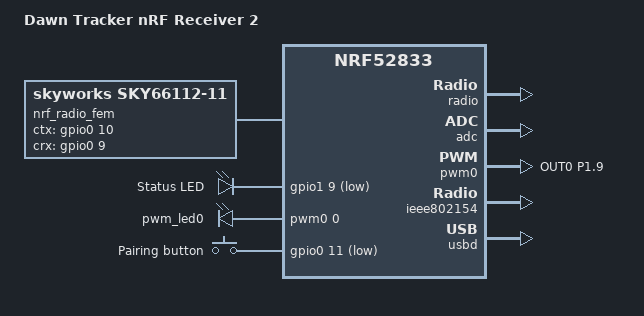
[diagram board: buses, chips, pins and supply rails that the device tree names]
// Copyright (c) 2024 Nordic Semiconductor ASA
// SPDX-License-Identifier: Apache-2.0

/dts-v1/;
#include <nordic/nrf52833_qdaa.dtsi>
#include <zephyr/dt-bindings/input/input-event-codes.h>

&pinctrl {
	pwm0_default: pwm0_default {
		group1 {
			psels = <NRF_PSEL(PWM_OUT0, 1, 9)>;
			nordic,invert;
		};
	};

	pwm0_sleep: pwm0_sleep {
		group1 {
			psels = <NRF_PSEL(PWM_OUT0, 1, 9)>;
			low-power-enable;
		};
	};
};

/ {
	model = "Dawn Tracker nRF Receiver 2";
	compatible = "dawnrx_2_uf2";

	chosen {
		zephyr,console = &cdc_acm_uart;
		zephyr,shell-uart = &cdc_acm_uart;
		zephyr,uart-mcumgr = &cdc_acm_uart;
		zephyr,bt-mon-uart = &cdc_acm_uart;
		zephyr,bt-c2h-uart = &cdc_acm_uart;
		zephyr,sram = &sram0;
		zephyr,flash = &flash0;
		zephyr,ieee802154 = &ieee802154;
	};

	nrf_radio_fem: sky66112_fem {
		compatible = "skyworks,sky66112-11", "radio-fem-two-ctrl-pins";
		ctx-gpios = <&gpio0 10 GPIO_ACTIVE_HIGH>;
		ctx-settle-time-us = <2>;
		crx-gpios = <&gpio0 9 GPIO_ACTIVE_HIGH>;
		crx-settle-time-us = <2>;
		tx-gain-db = <22>;
		rx-gain-db = <12>;
	};

	leds {
		compatible = "gpio-leds";
		led0: led_0 {
			gpios = <&gpio1 9 GPIO_ACTIVE_LOW>;
			label = "Status LED";
		};
	};

	pwmleds {
		compatible = "pwm-leds";
		pwm_led0: pwm_led_0 {
			pwms = <&pwm0 0 PWM_MSEC(1) PWM_POLARITY_INVERTED>;
		};
	};

	buttons {
		compatible = "gpio-keys";
		button0: button_0 {
			gpios = <&gpio0 11 (GPIO_PULL_UP | GPIO_ACTIVE_LOW)>;
			label = "Pairing button";
			zephyr,code = <INPUT_KEY_0>;
		};
	};

	aliases {
		sw0 = &button0;
		led0 = &led0;
		pwm-led0 = &pwm_led0;
		watchdog0 = &wdt0;
	};
};

&reg0 {
	status = "disabled";
};

&reg1 {
	regulator-initial-mode = <NRF5X_REG_MODE_LDO>;
};

&radio {
	fem = <&nrf_radio_fem>;
};

&adc {
	status = "okay";
};

&gpio0 {
	status = "okay";
};

&gpio1 {
	status = "okay";
};

&gpiote {
	status = "okay";
};

&uicr {
	nfct-pins-as-gpios;
	gpio-as-nreset;
};

&pwm0 {
	status = "okay";
	pinctrl-0 = <&pwm0_default>;
	pinctrl-1 = <&pwm0_sleep>;
	pinctrl-names = "default", "sleep";
};

&ieee802154 {
	status = "okay";
};

zephyr_udc0: &usbd {
	compatible = "nordic,nrf-usbd";
	status = "okay";

	cdc_acm_uart: cdc_acm_uart {
		compatible = "zephyr,cdc-acm-uart";
	};
};
